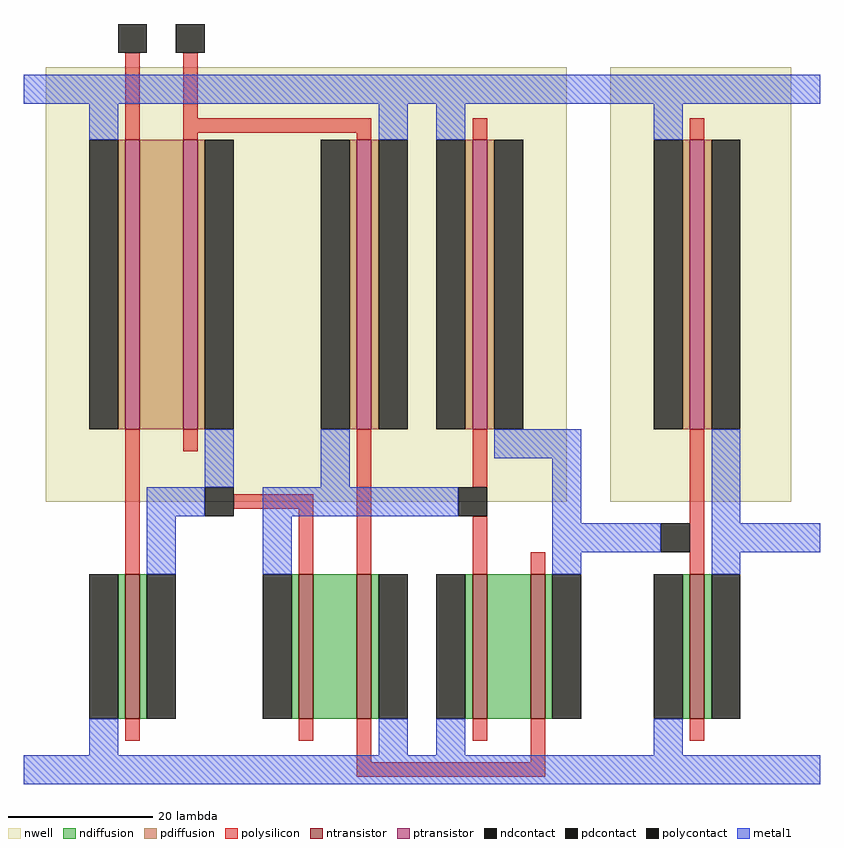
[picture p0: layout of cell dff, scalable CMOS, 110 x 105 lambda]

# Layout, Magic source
magic
tech scmos
<< nwell >>
rect 3 39 75 99
<< ntransistor >>
rect 14 9 16 29
rect 38 9 40 29
rect 46 9 48 29
rect 62 9 64 29
rect 70 9 72 29
<< ptransistor >>
rect 14 49 16 89
rect 22 49 24 89
rect 46 49 48 89
rect 62 49 64 89
<< ndiffusion >>
rect 13 9 14 29
rect 16 9 17 29
rect 37 9 38 29
rect 40 9 46 29
rect 48 9 49 29
rect 61 9 62 29
rect 64 9 70 29
rect 72 9 73 29
<< pdiffusion >>
rect 13 49 14 89
rect 16 49 22 89
rect 24 49 25 89
rect 45 49 46 89
rect 48 49 49 89
rect 61 49 62 89
rect 64 49 65 89
<< ndcontact >>
rect 9 9 13 29
rect 17 9 21 29
rect 33 9 37 29
rect 49 9 53 29
rect 57 9 61 29
rect 73 9 77 29
<< pdcontact >>
rect 9 49 13 89
rect 25 49 29 89
rect 41 49 45 89
rect 49 49 53 89
rect 57 49 61 89
rect 65 49 69 89
<< polysilicon >>
rect 14 89 16 101
rect 22 92 24 101
rect 22 90 48 92
rect 22 89 24 90
rect 46 89 48 90
rect 62 89 64 92
rect 14 29 16 49
rect 22 46 24 49
rect 29 38 40 40
rect 38 29 40 38
rect 46 29 48 49
rect 62 41 64 49
rect 62 29 64 37
rect 70 29 72 32
rect 14 6 16 9
rect 38 6 40 9
rect 46 3 48 9
rect 62 6 64 9
rect 70 3 72 9
rect 46 1 72 3
<< polycontact >>
rect 13 101 17 105
rect 21 101 25 105
rect 25 37 29 41
rect 60 37 64 41
<< metal1 >>
rect 0 94 81 98
rect 106 94 110 98
rect 9 89 13 94
rect 49 89 53 94
rect 25 41 29 49
rect 57 89 61 94
rect 41 41 45 49
rect 65 45 77 49
rect 17 37 25 41
rect 33 37 60 41
rect 17 29 21 37
rect 33 29 37 37
rect 73 36 77 45
rect 73 32 81 36
rect 106 32 110 36
rect 73 29 77 32
rect 9 4 13 9
rect 49 4 53 9
rect 57 4 61 9
rect 0 0 83 4
rect 106 0 110 4
use inverter  inverter_0
transform 1 0 81 0 1 99
box -3 -99 28 0
<< end >>

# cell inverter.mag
magic
tech scmos
<< nwell >>
rect 0 -60 25 0
<< ntransistor >>
rect 11 -90 13 -70
<< ptransistor >>
rect 11 -50 13 -10
<< ndiffusion >>
rect 10 -90 11 -70
rect 13 -90 14 -70
<< pdiffusion >>
rect 10 -50 11 -10
rect 13 -50 14 -10
<< ndcontact >>
rect 6 -90 10 -70
rect 14 -90 18 -70
<< pdcontact >>
rect 6 -50 10 -10
rect 14 -50 18 -10
<< polysilicon >>
rect 11 -10 13 -7
rect 11 -70 13 -50
rect 11 -93 13 -90
<< polycontact >>
rect 7 -67 11 -63
<< metal1 >>
rect -3 -5 28 -1
rect 6 -10 10 -5
rect 14 -63 18 -50
rect -3 -67 7 -63
rect 14 -67 28 -63
rect 14 -70 18 -67
rect 6 -95 10 -90
rect -3 -99 28 -95
<< end >>
